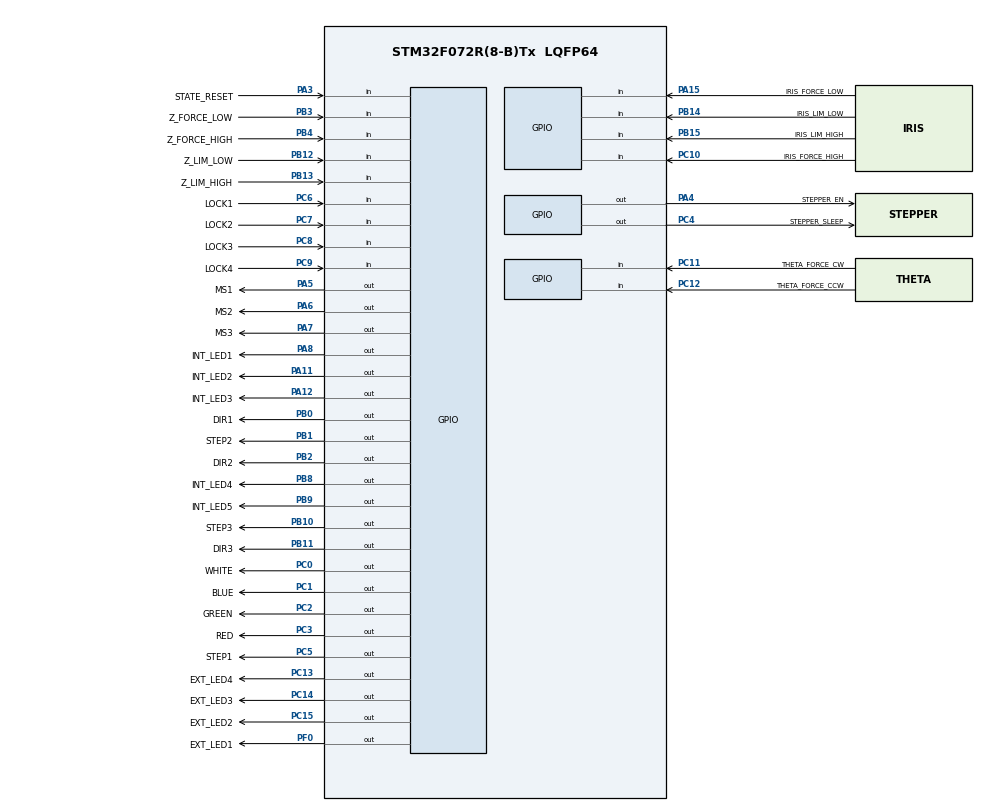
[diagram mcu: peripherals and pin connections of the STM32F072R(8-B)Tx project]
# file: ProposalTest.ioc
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Mcu.Family=STM32F0
Mcu.Name=STM32F072R(8-B)Tx
Mcu.Package=LQFP64
PA11.GPIO_Label=INT_LED2
PA11.Signal=GPIO_Output
PA12.GPIO_Label=INT_LED3
PA12.Signal=GPIO_Output
PA15.GPIO_Label=IRIS_FORCE_LOW
PA15.Signal=GPIO_Input
PA3.GPIO_Label=STATE_RESET
PA3.Signal=GPIO_Input
PA4.GPIO_Label=STEPPER_EN
PA4.Signal=GPIO_Output
PA5.GPIO_Label=MS1
PA5.Signal=GPIO_Output
PA6.GPIO_Label=MS2
PA6.PinState=GPIO_PIN_SET
PA6.Signal=GPIO_Output
PA7.GPIO_Label=MS3
PA7.Signal=GPIO_Output
PA8.GPIO_Label=INT_LED1
PA8.GPIO_PuPd=GPIO_NOPULL
PA8.Signal=GPIO_Output
PB0.GPIO_Label=DIR1
PB0.GPIO_Speed=GPIO_SPEED_FREQ_LOW
PB0.Signal=GPIO_Output
PB1.GPIO_Label=STEP2
PB1.Signal=GPIO_Output
PB10.GPIO_Label=STEP3
PB10.Signal=GPIO_Output
PB11.GPIO_Label=DIR3
PB11.Signal=GPIO_Output
PB12.GPIO_Label=Z_LIM_LOW
PB12.Signal=GPIO_Input
PB13.GPIO_Label=Z_LIM_HIGH
PB13.Signal=GPIO_Input
PB14.GPIO_Label=IRIS_LIM_LOW
PB14.Signal=GPIO_Input
PB15.GPIO_Label=IRIS_LIM_HIGH
PB15.Signal=GPIO_Input
PB2.GPIO_Label=DIR2
PB2.Signal=GPIO_Output
PB3.GPIO_Label=Z_FORCE_LOW
PB3.Signal=GPIO_Input
PB4.GPIO_Label=Z_FORCE_HIGH
PB4.Signal=GPIO_Input
PB6.Signal=USART1_TX
PB7.Signal=USART1_RX
PB8.GPIO_Label=INT_LED4
PB8.Signal=GPIO_Output
PB9.GPIO_Label=INT_LED5
PB9.Signal=GPIO_Output
PC0.GPIO_Label=WHITE
PC0.Signal=GPIO_Output
PC1.GPIO_Label=BLUE
PC1.Signal=GPIO_Output
PC10.GPIO_Label=IRIS_FORCE_HIGH
PC10.Signal=GPIO_Input
PC11.GPIO_Label=THETA_FORCE_CW
PC11.Signal=GPIO_Input
PC12.GPIO_Label=THETA_FORCE_CCW
PC12.Signal=GPIO_Input
PC13.GPIO_Label=EXT_LED4
PC13.Signal=GPIO_Output
PC14-OSC32_IN.GPIO_Label=EXT_LED3
PC14-OSC32_IN.Signal=GPIO_Output
PC15-OSC32_OUT.GPIO_Label=EXT_LED2
PC15-OSC32_OUT.Signal=GPIO_Output
PC2.GPIO_Label=GREEN
PC2.Signal=GPIO_Output
PC3.GPIO_Label=RED
PC3.Signal=GPIO_Output
PC4.GPIO_Label=STEPPER_SLEEP
PC4.Signal=GPIO_Output
PC5.GPIO_Label=STEP1
PC5.Signal=GPIO_Output
PC6.GPIO_Label=LOCK1
PC6.Signal=GPIO_Input
PC7.GPIO_Label=LOCK2
PC7.Signal=GPIO_Input
PC8.GPIO_Label=LOCK3
PC8.Signal=GPIO_Input
PC9.GPIO_Label=LOCK4
PC9.Signal=GPIO_Input
PF0-OSC_IN.GPIO_Label=EXT_LED1
PF0-OSC_IN.Signal=GPIO_Output
ProjectManager.HeapSize=0x200
ProjectManager.StackSize=0x400
ProjectManager.TargetToolchain=STM32CubeIDE
board=custom

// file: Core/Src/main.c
/* USER CODE BEGIN Header */
/**
  ******************************************************************************
  * @file           : main.c
  * @brief          : Main program body
  ******************************************************************************
  * @attention
  *
  * Copyright (c) 2022 STMicroelectronics.
  * All rights reserved.
  *
  * This software is licensed under terms that can be found in the LICENSE file
  * in the root directory of this software component.
  * If no LICENSE file comes with this software, it is provided AS-IS.
  *
  ******************************************************************************
  */
/* USER CODE END Header */
#include "main.h"

/* USER CODE BEGIN PV */
int STATE			= 0x00;
int FORCE 		= 0x00;

int LOCK1_TRIGGER = 0x01;
int LOCK2_TRIGGER = 0x02;
int LOCK3_TRIGGER = 0x04;
int LOCK4_TRIGGER = 0x08;
int IRIS_LOW 		= 0x10;
int IRIS_HIGH 	= 0x20;
int Z_LOW 		= 0x40;
int Z_HIGH 		= 0x80;

int IRIS_CLOSE 	= 0x01;
int IRIS_OPEN 	= 0x02;
int THETA_CW		= 0x04;
int THETA_CCW		= 0x08;
int Z_LOWER		= 0x10;
int Z_HIGHER		= 0x20;
int RESET_STATE 		= 0x40;
/* USER CODE END PV */

void SystemClock_Config(void);
static void MX_GPIO_Init(void);

/* USER CODE BEGIN 0 */
int spin_motor(int motor, int dir){
	int delay_ms = 1;
	switch(motor){
		case 1:
			 HAL_GPIO_WritePin(DIR1_GPIO_Port, DIR1_Pin, (dir ? GPIO_PIN_SET : GPIO_PIN_RESET));
			 HAL_GPIO_WritePin(STEP1_GPIO_Port, STEP1_Pin, GPIO_PIN_SET);
			 HAL_Delay(delay_ms);
			 HAL_GPIO_WritePin(STEP1_GPIO_Port, STEP1_Pin, GPIO_PIN_RESET);
			 HAL_Delay(delay_ms);
			 break;
		case 2:
			 HAL_GPIO_WritePin(DIR2_GPIO_Port, DIR2_Pin, (dir ? GPIO_PIN_SET : GPIO_PIN_RESET));
			 HAL_GPIO_WritePin(STEP2_GPIO_Port, STEP2_Pin, GPIO_PIN_SET);
			 HAL_Delay(delay_ms);
			 HAL_GPIO_WritePin(STEP2_GPIO_Port, STEP2_Pin, GPIO_PIN_RESET);
			 HAL_Delay(delay_ms);
			 break;
		case 3:
			 HAL_GPIO_WritePin(DIR3_GPIO_Port, DIR3_Pin, (dir ? GPIO_PIN_SET : GPIO_PIN_RESET));
			 HAL_GPIO_WritePin(STEP3_GPIO_Port, STEP3_Pin, GPIO_PIN_SET);
			 HAL_Delay(delay_ms);
			 HAL_GPIO_WritePin(STEP3_GPIO_Port, STEP3_Pin, GPIO_PIN_RESET);
			 HAL_Delay(delay_ms);
			 break;
		default:
			break;
	}
	return 0;
}

void lock_check(){
	if (HAL_GPIO_ReadPin(LOCK1_GPIO_Port, LOCK1_Pin)){
		HAL_GPIO_WritePin(EXT_LED1_GPIO_Port, EXT_LED1_Pin, GPIO_PIN_SET);
		STATE |= 1 << 0;
	} else if (HAL_GPIO_ReadPin(LOCK2_GPIO_Port, LOCK2_Pin)){
		HAL_GPIO_WritePin(EXT_LED2_GPIO_Port, EXT_LED2_Pin, GPIO_PIN_SET);
		STATE |= 1 << 1;
	} else if (HAL_GPIO_ReadPin(LOCK3_GPIO_Port, LOCK3_Pin)){
		HAL_GPIO_WritePin(EXT_LED3_GPIO_Port, EXT_LED3_Pin, GPIO_PIN_SET);
		STATE |= 1 << 2;
	} else if (HAL_GPIO_ReadPin(LOCK4_GPIO_Port, LOCK4_Pin)){
		HAL_GPIO_WritePin(EXT_LED4_GPIO_Port, EXT_LED4_Pin, GPIO_PIN_SET);
		STATE |= 1 << 3;
	}

}

/* USER CODE END 0 */

int main(void)
{

  /* MCU Configuration--------------------------------------------------------*/

  /* Reset of all peripherals, Initializes the Flash interface and the Systick. */
                                                                       HAL_Init();

  /* Configure the system clock */
  SystemClock_Config();

  /* Initialize all configured peripherals */
  MX_GPIO_Init();
  /* USER CODE BEGIN 2 */
  HAL_GPIO_WritePin(INT_LED1_GPIO_Port, INT_LED1_Pin, GPIO_PIN_SET);
  HAL_GPIO_WritePin(INT_LED2_GPIO_Port, INT_LED2_Pin, GPIO_PIN_SET);
  HAL_GPIO_WritePin(INT_LED3_GPIO_Port, INT_LED3_Pin, GPIO_PIN_SET);
  HAL_GPIO_WritePin(INT_LED4_GPIO_Port, INT_LED4_Pin, GPIO_PIN_SET);
  HAL_GPIO_WritePin(INT_LED5_GPIO_Port, INT_LED5_Pin, GPIO_PIN_SET);
  HAL_GPIO_WritePin(STEPPER_SLEEP_GPIO_Port, STEPPER_SLEEP_Pin, GPIO_PIN_SET);

  HAL_GPIO_WritePin(MS1_GPIO_Port, MS1_Pin, GPIO_PIN_SET);
  HAL_GPIO_WritePin(MS2_GPIO_Port, MS2_Pin, GPIO_PIN_SET);
  HAL_GPIO_WritePin(MS3_GPIO_Port, MS3_Pin, GPIO_PIN_SET);
  /* USER CODE END 2 */

  /* Infinite loop */
  /* USER CODE BEGIN WHILE */
  while (1)
  {

		if (HAL_GPIO_ReadPin(IRIS_FORCE_LOW_GPIO_Port, IRIS_FORCE_LOW_Pin)){
			spin_motor(1, 0);

		}
		else if (HAL_GPIO_ReadPin(IRIS_FORCE_HIGH_GPIO_Port, IRIS_FORCE_HIGH_Pin)){
			spin_motor(1, 1);
		}

		if (HAL_GPIO_ReadPin(THETA_FORCE_CCW_GPIO_Port, THETA_FORCE_CCW_Pin)){
			spin_motor(2, 0);

		}
		else if (HAL_GPIO_ReadPin(THETA_FORCE_CW_GPIO_Port, THETA_FORCE_CW_Pin)){
			spin_motor(2, 1);
		}

	  if (STATE < 0x0F){
		  lock_check();
//	  } else if ((STATE & (1 << 0)) && (STATE & (1 << 1)) && (STATE & (1 << 2)) && (STATE & (1 << 3))){
	  } else if ((STATE & 0xFF) == 0x0F){
		  HAL_GPIO_WritePin(BLUE_GPIO_Port, GREEN_Pin, GPIO_PIN_SET);
		  if (! HAL_GPIO_ReadPin(IRIS_LIM_HIGH_GPIO_Port, IRIS_LIM_HIGH_Pin)){
			  spin_motor(1, 1);
		  } else {
			  STATE |= (1 << 4);

		  }
	  } else if ((STATE & 0xFF) == 0x1F){
		  HAL_GPIO_TogglePin(INT_LED2_GPIO_Port, INT_LED2_Pin);
		  if (! HAL_GPIO_ReadPin(Z_LIM_LOW_GPIO_Port, Z_LIM_LOW_Pin)){
			  spin_motor(2, 1);
		  } else {
			  STATE |= (1 << 5);
		  }
	  } else if (( STATE & 0xFF) == 0x3F){
		  HAL_GPIO_WritePin(BLUE_GPIO_Port, BLUE_Pin, GPIO_PIN_SET);
	  }

	  HAL_Delay(5);
    /* USER CODE END WHILE */

  }
}

void SystemClock_Config(void)
{
  RCC_OscInitTypeDef RCC_OscInitStruct = {0};
  RCC_ClkInitTypeDef RCC_ClkInitStruct = {0};

  /** Initializes the RCC Oscillators according to the specified parameters
  * in the RCC_OscInitTypeDef structure.
  */
  RCC_OscInitStruct.OscillatorType = RCC_OSCILLATORTYPE_HSI;
  RCC_OscInitStruct.HSIState = RCC_HSI_ON;
  RCC_OscInitStruct.HSICalibrationValue = RCC_HSICALIBRATION_DEFAULT;
  RCC_OscInitStruct.PLL.PLLState = RCC_PLL_NONE;
  if (HAL_RCC_OscConfig(&RCC_OscInitStruct) != HAL_OK)
  {
    Error_Handler();
  }

  /** Initializes the CPU, AHB and APB buses clocks
  */
  RCC_ClkInitStruct.ClockType = RCC_CLOCKTYPE_HCLK|RCC_CLOCKTYPE_SYSCLK
                              |RCC_CLOCKTYPE_PCLK1;
  RCC_ClkInitStruct.SYSCLKSource = RCC_SYSCLKSOURCE_HSI;
  RCC_ClkInitStruct.AHBCLKDivider = RCC_SYSCLK_DIV1;
  RCC_ClkInitStruct.APB1CLKDivider = RCC_HCLK_DIV1;

  if (HAL_RCC_ClockConfig(&RCC_ClkInitStruct, FLASH_LATENCY_0) != HAL_OK)
  {
    Error_Handler();
  }
}

static void MX_GPIO_Init(void)
{
  GPIO_InitTypeDef GPIO_InitStruct = {0};

  /* GPIO Ports Clock Enable */
  __HAL_RCC_GPIOC_CLK_ENABLE();
  __HAL_RCC_GPIOF_CLK_ENABLE();
  __HAL_RCC_GPIOA_CLK_ENABLE();
  __HAL_RCC_GPIOB_CLK_ENABLE();

  /*Configure GPIO pin Output Level */
  HAL_GPIO_WritePin(GPIOC, EXT_LED4_Pin|EXT_LED3_Pin|EXT_LED2_Pin|WHITE_Pin
                          |BLUE_Pin|GREEN_Pin|RED_Pin|STEPPER_SLEEP_Pin
                          |STEP1_Pin, GPIO_PIN_RESET);

  /*Configure GPIO pin Output Level */
  HAL_GPIO_WritePin(EXT_LED1_GPIO_Port, EXT_LED1_Pin, GPIO_PIN_RESET);

  /*Configure GPIO pin Output Level */
  HAL_GPIO_WritePin(GPIOA, STEPPER_EN_Pin|MS1_Pin|MS3_Pin|INT_LED1_Pin
                          |INT_LED2_Pin|INT_LED3_Pin, GPIO_PIN_RESET);

  /*Configure GPIO pin Output Level */
  HAL_GPIO_WritePin(MS2_GPIO_Port, MS2_Pin, GPIO_PIN_SET);

  /*Configure GPIO pin Output Level */
  HAL_GPIO_WritePin(GPIOB, DIR1_Pin|STEP2_Pin|DIR2_Pin|STEP3_Pin
                          |DIR3_Pin|INT_LED4_Pin|INT_LED5_Pin, GPIO_PIN_RESET);

  /*Configure GPIO pins : EXT_LED4_Pin EXT_LED3_Pin EXT_LED2_Pin WHITE_Pin
                           BLUE_Pin GREEN_Pin RED_Pin STEPPER_SLEEP_Pin
                           STEP1_Pin */
  GPIO_InitStruct.Pin = EXT_LED4_Pin|EXT_LED3_Pin|EXT_LED2_Pin|WHITE_Pin
                          |BLUE_Pin|GREEN_Pin|RED_Pin|STEPPER_SLEEP_Pin
                          |STEP1_Pin;
  GPIO_InitStruct.Mode = GPIO_MODE_OUTPUT_PP;
  GPIO_InitStruct.Pull = GPIO_NOPULL;
  GPIO_InitStruct.Speed = GPIO_SPEED_FREQ_LOW;
  HAL_GPIO_Init(GPIOC, &GPIO_InitStruct);

  /*Configure GPIO pin : EXT_LED1_Pin */
  GPIO_InitStruct.Pin = EXT_LED1_Pin;
  GPIO_InitStruct.Mode = GPIO_MODE_OUTPUT_PP;
  GPIO_InitStruct.Pull = GPIO_NOPULL;
  GPIO_InitStruct.Speed = GPIO_SPEED_FREQ_LOW;
  HAL_GPIO_Init(EXT_LED1_GPIO_Port, &GPIO_InitStruct);

  /*Configure GPIO pins : STATE_RESET_Pin IRIS_FORCE_LOW_Pin */
  GPIO_InitStruct.Pin = STATE_RESET_Pin|IRIS_FORCE_LOW_Pin;
  GPIO_InitStruct.Mode = GPIO_MODE_INPUT;
  GPIO_InitStruct.Pull = GPIO_NOPULL;
  HAL_GPIO_Init(GPIOA, &GPIO_InitStruct);

  /*Configure GPIO pins : STEPPER_EN_Pin MS1_Pin MS2_Pin MS3_Pin
                           INT_LED1_Pin INT_LED2_Pin INT_LED3_Pin */
  GPIO_InitStruct.Pin = STEPPER_EN_Pin|MS1_Pin|MS2_Pin|MS3_Pin
                          |INT_LED1_Pin|INT_LED2_Pin|INT_LED3_Pin;
  GPIO_InitStruct.Mode = GPIO_MODE_OUTPUT_PP;
  GPIO_InitStruct.Pull = GPIO_NOPULL;
  GPIO_InitStruct.Speed = GPIO_SPEED_FREQ_LOW;
  HAL_GPIO_Init(GPIOA, &GPIO_InitStruct);

  /*Configure GPIO pins : DIR1_Pin STEP2_Pin DIR2_Pin STEP3_Pin
                           DIR3_Pin INT_LED4_Pin INT_LED5_Pin */
  GPIO_InitStruct.Pin = DIR1_Pin|STEP2_Pin|DIR2_Pin|STEP3_Pin
                          |DIR3_Pin|INT_LED4_Pin|INT_LED5_Pin;
  GPIO_InitStruct.Mode = GPIO_MODE_OUTPUT_PP;
  GPIO_InitStruct.Pull = GPIO_NOPULL;
  GPIO_InitStruct.Speed = GPIO_SPEED_FREQ_LOW;
  HAL_GPIO_Init(GPIOB, &GPIO_InitStruct);

  /*Configure GPIO pins : Z_LIM_LOW_Pin Z_LIM_HIGH_Pin IRIS_LIM_LOW_Pin IRIS_LIM_HIGH_Pin
                           Z_FORCE_LOW_Pin Z_FORCE_HIGH_Pin */
  GPIO_InitStruct.Pin = Z_LIM_LOW_Pin|Z_LIM_HIGH_Pin|IRIS_LIM_LOW_Pin|IRIS_LIM_HIGH_Pin
                          |Z_FORCE_LOW_Pin|Z_FORCE_HIGH_Pin;
  GPIO_InitStruct.Mode = GPIO_MODE_INPUT;
  GPIO_InitStruct.Pull = GPIO_NOPULL;
  HAL_GPIO_Init(GPIOB, &GPIO_InitStruct);

  /*Configure GPIO pins : LOCK1_Pin LOCK2_Pin LOCK3_Pin LOCK4_Pin
                           IRIS_FORCE_HIGH_Pin THETA_FORCE_CW_Pin THETA_FORCE_CCW_Pin */
  GPIO_InitStruct.Pin = LOCK1_Pin|LOCK2_Pin|LOCK3_Pin|LOCK4_Pin
                          |IRIS_FORCE_HIGH_Pin|THETA_FORCE_CW_Pin|THETA_FORCE_CCW_Pin;
  GPIO_InitStruct.Mode = GPIO_MODE_INPUT;
  GPIO_InitStruct.Pull = GPIO_NOPULL;
  HAL_GPIO_Init(GPIOC, &GPIO_InitStruct);

  /*Configure GPIO pins : PB6 PB7 */
  GPIO_InitStruct.Pin = GPIO_PIN_6|GPIO_PIN_7;
  GPIO_InitStruct.Mode = GPIO_MODE_AF_PP;
  GPIO_InitStruct.Pull = GPIO_NOPULL;
  GPIO_InitStruct.Speed = GPIO_SPEED_FREQ_HIGH;
  GPIO_InitStruct.Alternate = GPIO_AF0_USART1;
  HAL_GPIO_Init(GPIOB, &GPIO_InitStruct);

}

void Error_Handler(void)
{
  __disable_irq();
  while (1)
  {
  }
}
